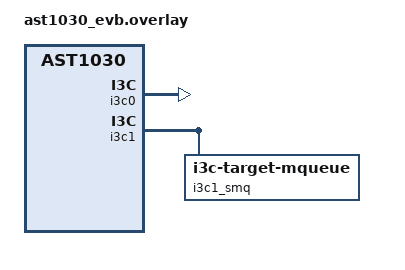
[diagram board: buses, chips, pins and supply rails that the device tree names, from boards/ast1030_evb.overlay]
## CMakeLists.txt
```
# SPDX-License-Identifier: Apache-2.0

cmake_minimum_required(VERSION 3.20.0)

find_package(Zephyr REQUIRED HINTS $ENV{ZEPHYR_BASE})
project(i3c)

target_sources(app PRIVATE src/main.c)

target_include_directories(app PRIVATE ${CMAKE_CURRENT_SOURCE_DIR}/../common)
```

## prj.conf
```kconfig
CONFIG_ZTEST=y
CONFIG_I3C=y
CONFIG_I3C_TARGET=y
CONFIG_I3C_TARGET_MQUEUE=y
CONFIG_I3C_IBI_WORKQUEUE=y
CONFIG_TEST_RANDOM_GENERATOR=y
```

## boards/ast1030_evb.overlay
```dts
/*
 * Copyright (c) 2026 Aspeed Technology Inc.
 *
 * SPDX-License-Identifier: Apache-2.0
 */

/* i3c0 controller to i3c1 target loopback. */
&i3c0 {
	status = "okay";
	assigned-address = <0x8>;
};

&i3c1 {
	status = "okay";
	secondary;
	dcr = <0xcc>;
	assigned-address = <0x9>;

	i3c1_smq: i3c-tmq@7ec80011000 {
		compatible = "i3c-target-mqueue";
		reg = <0x0 0x7ec 0x80011000>;
		msg-size = <128>;
		num-of-msgs = <4>;
		mandatory-data-byte = <0xbf>;
		status = "okay";
	};
};

/* Define the code partition required by the board DTS. */
&fmc_cs0 {
	partitions {
		compatible = "fixed-partitions";
		#address-cells = <1>;
		#size-cells = <1>;
		slot0_partition: partition@0 {
			label = "image-0";
			reg = <0x0 0x100000>;
		};
	};
};
```

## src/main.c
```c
/*
 * Copyright (c) 2026 Aspeed Technology Inc.
 *
 * SPDX-License-Identifier: Apache-2.0
 */

#include <string.h>

#include <zephyr/device.h>
#include <zephyr/drivers/i3c.h>
#include <zephyr/drivers/i3c/target/i3c_target_mqueue.h>
#include <zephyr/kernel.h>
#include <zephyr/random/random.h>
#include <zephyr/sys/util.h>
#include "ast_test.h"

#define TEST_PRIV_XFER_SIZE   128
#define TEST_IBI_PAYLOAD_SIZE 128
#define MAX_DATA_SIZE         256

/* Loopback iteration count: the old CI test took this as a `count` argument
 * from the runner; the per-peripheral test model has no such plumbing
 * (see pwm_tach/spi), so a small fixed repeat count is hardcoded instead.
 */
#define TEST_I3C_LOOP_COUNT 3

/*
 * MIPI manufacturer ID that ASPEED I3C controllers report via GETPID when
 * operating in target/secondary mode. Mirrors MIPI_MFG_ASPEED in
 * drivers/i3c/i3c_aspeed.c (aspeed_i3c_init_pid()), which is what i3c1
 * (in target mode) will actually answer with.
 */
#define I3C_PID_MANUF_ID_ASPEED 0x3f6

/*
 * IBI Mandatory Data Byte (MDB) group encoding, mirrors the identical
 * check in drivers/i3c/i3c_dummy_device.c: the top 3 bits of the MDB
 * identify the MIPI-defined "Pending Read Notification" group.
 */
#define IBI_MDB_GROUP                   GENMASK(7, 5)
#define IBI_MDB_GROUP_PENDING_READ_NOTI 5
#define IS_MDB_PENDING_READ_NOTIFY(mdb) \
	(FIELD_GET(IBI_MDB_GROUP, (mdb)) == IBI_MDB_GROUP_PENDING_READ_NOTI)

#define I3C_TARGET_THREAD_STACK_SIZE 512
#define I3C_TARGET_THREAD_PRIO       CONFIG_ZTEST_THREAD_PRIORITY

static const struct device *const i3c0_dev = DEVICE_DT_GET(DT_NODELABEL(i3c0));
static const struct device *const i3c1_smq_dev = DEVICE_DT_GET(DT_NODELABEL(i3c1_smq));

/*
 * i3c1 is not declared as a static DT child of i3c0: it is attached at
 * runtime as a plain I3C device, exactly as the old test did with
 * i3c_master_attach_device(). `bus`/`static_addr` are const members of
 * struct i3c_device_desc, so they must come from the initializer.
 */
static struct i3c_device_desc i3c1_target = {
	.bus = DEVICE_DT_GET(DT_NODELABEL(i3c0)),
	.static_addr = DT_PROP(DT_BUS(DT_NODELABEL(i3c1_smq)), assigned_address),
};

K_THREAD_STACK_DEFINE(i3c_target_thread_stack, I3C_TARGET_THREAD_STACK_SIZE);
static struct k_thread i3c_target_thread;

static uint8_t test_data_tx[MAX_DATA_SIZE];
static uint8_t test_data_rx[MAX_DATA_SIZE];

static struct k_sem ibi_complete;
static uint8_t ibi_mdb;

/*
 * The target-side helper thread must never call ast_zassert_*() either:
 * even though ast_zassert_* doesn't longjmp (that's the whole point), the
 * shared static ast_test_fail flag it writes still isn't safe to touch
 * from two threads at once. Record failures here instead and let
 * test_i3c() (always called from a single thread - either the ztest
 * runner, standalone, or one of the concurrent runner's worker threads,
 * never both at once) check it once per round-trip.
 */
static atomic_t target_side_ok = ATOMIC_INIT(1);

static void prepare_test_data(uint8_t *data, int nbytes)
{
	uint32_t value = sys_rand32_get();
	uint32_t shift;

	for (int i = 0; i < nbytes; i++) {
		shift = (i & 0x3) * 8;
		data[i] = (value >> shift) & 0xff;
		if ((i & 0x3) == 0x3) {
			value = sys_rand32_get();
		}
	}
}

/* Mirrors bytes_to_pid() in drivers/i3c/i3c_aspeed.c: PID is big-endian,
 * byte[0] is the MSB of the 48-bit Provisioned ID.
 */
static uint64_t bytes_to_pid(const uint8_t *bytes)
{
	uint64_t pid = 0;

	for (int i = 0; i < 6; i++) {
		pid |= (uint64_t)bytes[i] << ((6 - i - 1) * 8);
	}

	return pid;
}

static int test_i3c_ibi_cb(struct i3c_device_desc *target, struct i3c_ibi_payload *payload)
{
	ARG_UNUSED(target);

	if (payload->payload_len > 0) {
		ibi_mdb = payload->payload[0];
	}
	k_sem_give(&ibi_complete);

	return 0;
}

/*
 * Target-side responder: services the i3c1_smq (i3c-target-mqueue) device
 * that plays the role of the target on the loopback bus. Mirrors the old
 * test_i3c_slave_task(): wait for the private write from the controller,
 * verify it, then push fresh random data back out via a pending-read-notify
 * IBI for the controller to fetch.
 */
static void test_i3c_target_task(void *p1, void *p2, void *p3)
{
	ARG_UNUSED(p2);
	ARG_UNUSED(p3);

	const struct device *smq = p1;
	int ret;

	for (;;) {
		while (i3c_target_mqueue_read(smq, test_data_rx, TEST_PRIV_XFER_SIZE) == 0) {
			k_sleep(K_USEC(1));
		}

		if (memcmp(test_data_tx, test_data_rx, TEST_PRIV_XFER_SIZE) != 0) {
			atomic_set(&target_side_ok, 0);
		}

		prepare_test_data(test_data_tx, TEST_IBI_PAYLOAD_SIZE);
		ret = i3c_target_mqueue_write(smq, test_data_tx, TEST_IBI_PAYLOAD_SIZE);
		if (ret != 0) {
			atomic_set(&target_side_ok, 0);
		}
	}
}

int test_i3c(void)
{
	struct i3c_ccc_getpid getpid;
	struct i3c_ccc_getbcr getbcr;
	uint64_t pid;

	ast_zassert_true(device_is_ready(i3c0_dev), "i3c0 controller is not ready");
	ast_zassert_true(device_is_ready(i3c1_smq_dev), "i3c1 target mqueue device is not ready");

	k_sem_init(&ibi_complete, 0, 1);
	atomic_set(&target_side_ok, 1);

	/* Register the target mqueue before receiving private writes. */
	const struct i3c_target_driver_api *i3c1_smq_api =
		(const struct i3c_target_driver_api *)i3c1_smq_dev->api;
	ast_zassert_ok(i3c1_smq_api->driver_register(i3c1_smq_dev),
		       "failed to register i3c1 target mqueue");

	k_thread_create(&i3c_target_thread, i3c_target_thread_stack,
			I3C_TARGET_THREAD_STACK_SIZE, test_i3c_target_task,
			(void *)i3c1_smq_dev, NULL, NULL, I3C_TARGET_THREAD_PRIO, 0, K_NO_WAIT);

	ast_zassert_ok(i3c_attach_i3c_device(&i3c1_target),
		       "failed to attach target device onto the bus");

	ast_zassert_ok(i3c_ccc_do_rstdaa_all(i3c0_dev), "failed to send RSTDAA");
	ast_zassert_ok(i3c_ccc_do_setaasa_all(i3c0_dev), "failed to send SETAASA");

	/* SETAASA assigns each statically-addressed target's dynamic address
	 * to equal its static address; the CCC helpers address targets via
	 * i3c_device_desc::dynamic_addr, so update our local copy to match.
	 */
	i3c1_target.dynamic_addr = i3c1_target.static_addr;

	ast_zassert_ok(i3c_ccc_do_getpid(&i3c1_target, &getpid), "failed to send GETPID");
	pid = bytes_to_pid(getpid.pid);
	ast_zassert_equal(I3C_PID_MANUF_ID(pid), I3C_PID_MANUF_ID_ASPEED,
			   "incorrect manufacturer ID %llx", pid);

	ast_zassert_ok(i3c_ccc_do_getbcr(&i3c1_target, &getbcr), "failed to send GETBCR");
	i3c1_target.bcr = getbcr.bcr;
	ast_zassert_equal(i3c1_target.bcr & I3C_BCR_IBI_PAYLOAD_HAS_DATA_BYTE,
			   I3C_BCR_IBI_PAYLOAD_HAS_DATA_BYTE, "incorrect BCR %x",
			   i3c1_target.bcr);

	i3c1_target.ibi_cb = test_i3c_ibi_cb;
	ast_zassert_ok(i3c_ibi_enable(&i3c1_target), "failed to enable IBI");

	/* Give the target side time to be ready to raise IBI. */
	k_msleep(2000);

	for (int i = 0; i < TEST_I3C_LOOP_COUNT; i++) {
		/*
		 * Test part 1:
		 * controller --- private write transfer ---> target
		 */
		prepare_test_data(test_data_tx, TEST_PRIV_XFER_SIZE);
		ast_zassert_ok(i3c_write(&i3c1_target, test_data_tx, TEST_PRIV_XFER_SIZE),
			       "failed to do private write transfer (iteration %d)", i);

		/*
		 * Test part 2:
		 * target raises an IBI carrying the mandatory-data-byte (MDB);
		 * for this driver, the MDB always falls in the MIPI Pending
		 * Read Notification group, so the controller follows up with
		 * a private read to fetch the data the target queued.
		 */
		ast_zassert_ok(k_sem_take(&ibi_complete, K_SECONDS(2)),
			       "timed out waiting for IBI (iteration %d)", i);

		ast_zassert_equal(ibi_mdb, DT_PROP(DT_NODELABEL(i3c1_smq), mandatory_data_byte),
				   "IBI MDB mismatch: %02x %02x", ibi_mdb,
				   DT_PROP(DT_NODELABEL(i3c1_smq), mandatory_data_byte));

		if (IS_MDB_PENDING_READ_NOTIFY(ibi_mdb)) {
			ast_zassert_ok(i3c_read(&i3c1_target, test_data_rx, TEST_IBI_PAYLOAD_SIZE),
				       "failed to do private read transfer (iteration %d)", i);
			ast_zassert_mem_equal(test_data_tx, test_data_rx, TEST_IBI_PAYLOAD_SIZE,
					       "IBI payload data mismatch (iteration %d)", i);
		} else {
			ast_zassert_mem_equal(test_data_tx, &test_data_rx[1], TEST_IBI_PAYLOAD_SIZE,
					       "IBI payload data mismatch (iteration %d)", i);
		}

		ast_zassert_true(atomic_get(&target_side_ok),
				  "target-side write/compare failed (iteration %d)", i);
	}

	ast_zassert_ok(i3c_detach_i3c_device(&i3c1_target), "failed to detach target device");
	i3c1_smq_api->driver_unregister(i3c1_smq_dev);

	k_thread_abort(&i3c_target_thread);

	return ast_ztest_result();
}

#if !defined(AST1030_CONCURRENT_ALL)
ZTEST(i3c, test_i3c_all)
{
	zassert_equal(test_i3c(), AST_TEST_PASS, "i3c test failed");
}

ZTEST_SUITE(i3c, NULL, NULL, NULL, NULL, NULL);
#endif
```
